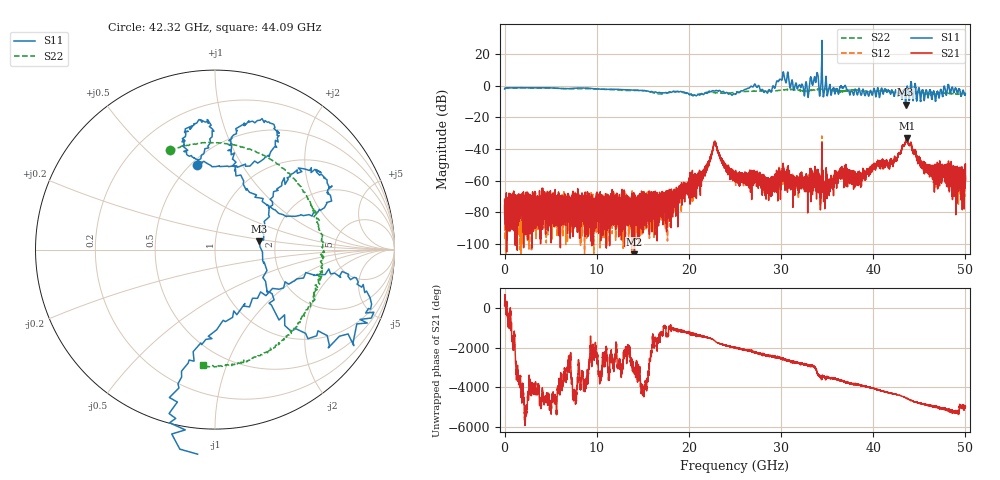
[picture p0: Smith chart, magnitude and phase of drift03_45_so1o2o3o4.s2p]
!Created with skrf (http://scikit-rf.org).
# Hz S RI R 50.0
!freq ReS11 ImS11 ReS21 ImS21 ReS12 ImS12 ReS22 ImS22
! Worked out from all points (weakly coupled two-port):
!   10000 points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, 5.3 MHz to 50 GHz, reference 50 ohm
!   highest |S21| = -33.04 dB at 43.65 GHz (marker M1); lowest = -111.6 dB at 14.09 GHz (marker M2)
!   lowest |S11| = -12.0 dB at 43.52 GHz (marker M3), VSWR 1.67, Z = 82.1 + j8 ohm
!   |S11| at or under -10 dB: 43.48499 GHz to 43.55165 GHz (66.65 MHz wide, 0.153 % of centre); 45.13948 GHz to 45.14047 GHz (991.2 kHz wide, 0.0022 % of centre)
!   |S22| runs from -5.9 to -1.3 dB; largest |S21 - S12| = 0.029
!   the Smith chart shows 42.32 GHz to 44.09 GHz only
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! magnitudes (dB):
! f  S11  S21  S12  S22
! 5.3 MHz  -2.1  -81.4  -78.8  -2.1
! 8.34 GHz  -1.5  -80.0  -76.7  -1.9
! 14.09 GHz  -2.9  -111.6  -80.0  -3.0
! 16.67 GHz  -4.4  -70.4  -84.6  -5.2
! 21.26 GHz  -5.7  -57.3  -58.3  -5.2
! 22.81 GHz  -3.4  -35.6  -35.5  -4.5
! 23.89 GHz  -4.7  -50.9  -51.0  -4.9
! 25.01 GHz  -5.5  -58.4  -60.4  -4.3
! 27.01 GHz  -0.5  -62.4  -57.6  -3.6
! 28.88 GHz  -4.1  -63.1  -66.8  -3.5
! 30.14 GHz  4.4  -60.0  -54.7  -2.8
! 32.74 GHz  2.0  -60.4  -63.5  -3.3
! 33.34 GHz  2.6  -56.4  -60.1  -2.9
! 33.82 GHz  4.0  -66.7  -58.6  -2.5
! 34.91 GHz  4.1  -63.3  -61.3  -2.3
! 36.46 GHz  -0.5  -52.0  -54.7  -3.6
! 38.54 GHz  -3.0  -55.6  -56.7  -3.1
! 41.67 GHz  -3.1  -49.6  -49.2  -3.6
! 43.52 GHz  -12.0  -35.7  -35.8  -4.2
! 43.65 GHz  -1.6  -33.0  -33.4  -4.1
! 45.76 GHz  -2.7  -52.2  -52.7  -5.2
! 50 GHz  -5.3  -59.6  -60.8  -5.0
